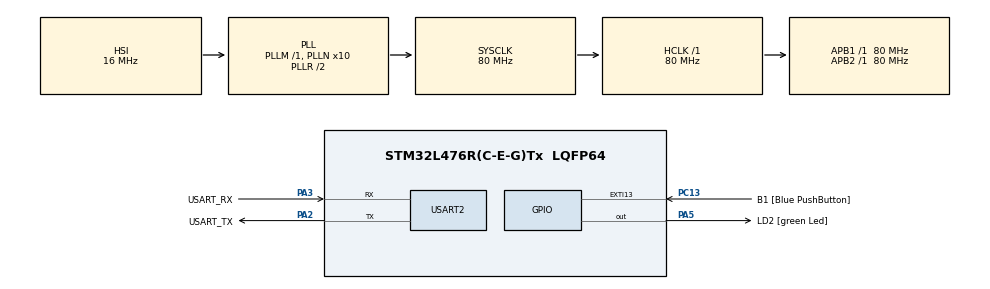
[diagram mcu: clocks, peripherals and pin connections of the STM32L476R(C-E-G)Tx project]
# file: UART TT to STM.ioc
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Dma.Request0=USART2_RX
Dma.USART2_RX.0.Direction=DMA_PERIPH_TO_MEMORY
Dma.USART2_RX.0.Instance=DMA1_Channel6
Dma.USART2_RX.0.MemDataAlignment=DMA_MDATAALIGN_BYTE
Dma.USART2_RX.0.MemInc=DMA_MINC_ENABLE
Dma.USART2_RX.0.Mode=DMA_NORMAL
Dma.USART2_RX.0.PeriphDataAlignment=DMA_PDATAALIGN_BYTE
Dma.USART2_RX.0.PeriphInc=DMA_PINC_DISABLE
Dma.USART2_RX.0.Priority=DMA_PRIORITY_LOW
Mcu.Family=STM32L4
Mcu.Name=STM32L476R(C-E-G)Tx
Mcu.Package=LQFP64
NVIC.DMA1_Channel6_IRQn=true\:0\:0\:false\:false\:true\:false\:true\:true
NVIC.PriorityGroup=NVIC_PRIORITYGROUP_4
NVIC.USART2_IRQn=true\:0\:0\:false\:false\:true\:true\:true\:true
PA13\ (JTMS-SWDIO).GPIO_Label=TMS
PA13\ (JTMS-SWDIO).Mode=Serial_Wire
PA13\ (JTMS-SWDIO).Signal=SYS_JTMS-SWDIO
PA14\ (JTCK-SWCLK).GPIO_Label=TCK
PA14\ (JTCK-SWCLK).Mode=Serial_Wire
PA14\ (JTCK-SWCLK).Signal=SYS_JTCK-SWCLK
PA2.GPIO_Label=USART_TX
PA2.GPIO_Mode=GPIO_MODE_AF_PP
PA2.GPIO_PuPd=GPIO_NOPULL
PA2.GPIO_Speed=GPIO_SPEED_FREQ_VERY_HIGH
PA2.Mode=Asynchronous
PA2.Signal=USART2_TX
PA3.GPIO_Label=USART_RX
PA3.GPIO_Mode=GPIO_MODE_AF_PP
PA3.GPIO_PuPd=GPIO_NOPULL
PA3.GPIO_Speed=GPIO_SPEED_FREQ_VERY_HIGH
PA3.Mode=Asynchronous
PA3.Signal=USART2_RX
PA5.GPIO_Label=LD2 [green Led]
PA5.GPIO_ModeDefaultOutputPP=GPIO_MODE_OUTPUT_PP
PA5.GPIO_PuPd=GPIO_NOPULL
PA5.GPIO_Speed=GPIO_SPEED_FREQ_LOW
PA5.Signal=GPIO_Output
PB3\ (JTDO-TRACESWO).GPIO_Label=SWO
PB3\ (JTDO-TRACESWO).Signal=SYS_JTDO-SWO
PC13.GPIO_Label=B1 [Blue PushButton]
PC13.GPIO_ModeDefaultEXTI=GPIO_MODE_IT_FALLING
PC13.GPIO_PuPd=GPIO_NOPULL
PC13.Signal=GPXTI13
PC14-OSC32_IN\ (PC14).Mode=LSE-External-Oscillator
PC14-OSC32_IN\ (PC14).Signal=RCC_OSC32_IN
PC15-OSC32_OUT\ (PC15).Mode=LSE-External-Oscillator
PC15-OSC32_OUT\ (PC15).Signal=RCC_OSC32_OUT
PH0-OSC_IN\ (PH0).Signal=RCC_OSC_IN
PH1-OSC_OUT\ (PH1).Signal=RCC_OSC_OUT
ProjectManager.HeapSize=0x200
ProjectManager.StackSize=0x400
ProjectManager.TargetToolchain=STM32CubeIDE
RCC.ADCFreq_Value=64000000
RCC.AHBFreq_Value=80000000
RCC.APB1Freq_Value=80000000
RCC.APB1TimFreq_Value=80000000
RCC.APB2Freq_Value=80000000
RCC.APB2TimFreq_Value=80000000
RCC.CortexFreq_Value=80000000
RCC.HCLKFreq_Value=80000000
RCC.HSE_VALUE=8000000
RCC.HSI_VALUE=16000000
RCC.MSI_VALUE=4000000
RCC.PLLN=10
RCC.PLLSourceVirtual=RCC_PLLSOURCE_HSI
RCC.PREFETCH_ENABLE=1
RCC.SYSCLKFreq_VALUE=80000000
RCC.SYSCLKSource=RCC_SYSCLKSOURCE_PLLCLK
RCC.USBFreq_Value=64000000
RCC.VCOOutputFreq_Value=160000000
USART2.VirtualMode-Asynchronous=VM_ASYNC
board=NUCLEO-L476RG

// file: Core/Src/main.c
/* USER CODE BEGIN Header */
/**
  ******************************************************************************
  * @file           : main.c
  * @brief          : Main program body
  ******************************************************************************
  * @attention
  *
  * Copyright (c) 2024 STMicroelectronics.
  * All rights reserved.
  *
  * This software is licensed under terms that can be found in the LICENSE file
  * in the root directory of this software component.
  * If no LICENSE file comes with this software, it is provided AS-IS.
  *
  ******************************************************************************
  */
/* USER CODE END Header */
#include "main.h"

/* USER CODE BEGIN Includes */
#include "string.h"
/* USER CODE END Includes */

/* USER CODE BEGIN PD */
#define RxBuf_SIZE 100 //16 bits geeft waarde van 0 tm 65535, dus maximaal 5 decimalen
#define MainBuf_SIZE 100
/* USER CODE END PD */

UART_HandleTypeDef huart2;
DMA_HandleTypeDef hdma_usart2_rx;

/* USER CODE BEGIN PV */
uint8_t RxBuf[RxBuf_SIZE];
uint8_t MainBuf[MainBuf_SIZE];
char TxBuf[RxBuf_SIZE];
char String[] = "12345";
/* USER CODE END PV */

void SystemClock_Config(void);
static void MX_GPIO_Init(void);
static void MX_DMA_Init(void);
static void MX_USART2_UART_Init(void);

/* USER CODE BEGIN 0 */
void HAL_UARTEx_RxEventCallback(UART_HandleTypeDef *huart, uint16_t Size){

	if(huart->Instance == USART2){
		memcpy(MainBuf, RxBuf, Size);
		HAL_UARTEx_ReceiveToIdle_DMA(&huart2, RxBuf, RxBuf_SIZE);
		__HAL_DMA_DISABLE_IT(&hdma_usart2_rx, DMA_IT_HT);
	}

	HAL_UART_Transmit(&huart2, MainBuf, Size, 1000);
	uint16_t convertedString = (uint16_t)atoi((char* )RxBuf);
	memset(RxBuf,0,strlen(RxBuf));

}
/* USER CODE END 0 */

int main(void)
{

  /* MCU Configuration--------------------------------------------------------*/

  /* Reset of all peripherals, Initializes the Flash interface and the Systick. */
  HAL_Init();

  /* Configure the system clock */
  SystemClock_Config();

  /* Initialize all configured peripherals */
  MX_GPIO_Init();
  MX_DMA_Init();
  MX_USART2_UART_Init();
  /* USER CODE BEGIN 2 */
  HAL_UARTEx_ReceiveToIdle_DMA(&huart2, RxBuf, RxBuf_SIZE);
  __HAL_DMA_DISABLE_IT(&hdma_usart2_rx, DMA_IT_HT);
  HAL_Delay(1000);

  /* USER CODE END 2 */

  /* Infinite loop */
  /* USER CODE BEGIN WHILE */
  while (1)
  {

	  //HAL_UART_Transmit(&huart2, RxBuf, 5, 1000);
	  HAL_Delay(1000);
    /* USER CODE END WHILE */

  }
}

void SystemClock_Config(void)
{
  RCC_OscInitTypeDef RCC_OscInitStruct = {0};
  RCC_ClkInitTypeDef RCC_ClkInitStruct = {0};

  /** Configure the main internal regulator output voltage
  */
  if (HAL_PWREx_ControlVoltageScaling(PWR_REGULATOR_VOLTAGE_SCALE1) != HAL_OK)
  {
    Error_Handler();
  }

  /** Initializes the RCC Oscillators according to the specified parameters
  * in the RCC_OscInitTypeDef structure.
  */
  RCC_OscInitStruct.OscillatorType = RCC_OSCILLATORTYPE_HSI;
  RCC_OscInitStruct.HSIState = RCC_HSI_ON;
  RCC_OscInitStruct.HSICalibrationValue = RCC_HSICALIBRATION_DEFAULT;
  RCC_OscInitStruct.PLL.PLLState = RCC_PLL_ON;
  RCC_OscInitStruct.PLL.PLLSource = RCC_PLLSOURCE_HSI;
  RCC_OscInitStruct.PLL.PLLM = 1;
  RCC_OscInitStruct.PLL.PLLN = 10;
  RCC_OscInitStruct.PLL.PLLP = RCC_PLLP_DIV7;
  RCC_OscInitStruct.PLL.PLLQ = RCC_PLLQ_DIV2;
  RCC_OscInitStruct.PLL.PLLR = RCC_PLLR_DIV2;
  if (HAL_RCC_OscConfig(&RCC_OscInitStruct) != HAL_OK)
  {
    Error_Handler();
  }

  /** Initializes the CPU, AHB and APB buses clocks
  */
  RCC_ClkInitStruct.ClockType = RCC_CLOCKTYPE_HCLK|RCC_CLOCKTYPE_SYSCLK
                              |RCC_CLOCKTYPE_PCLK1|RCC_CLOCKTYPE_PCLK2;
  RCC_ClkInitStruct.SYSCLKSource = RCC_SYSCLKSOURCE_PLLCLK;
  RCC_ClkInitStruct.AHBCLKDivider = RCC_SYSCLK_DIV1;
  RCC_ClkInitStruct.APB1CLKDivider = RCC_HCLK_DIV1;
  RCC_ClkInitStruct.APB2CLKDivider = RCC_HCLK_DIV1;

  if (HAL_RCC_ClockConfig(&RCC_ClkInitStruct, FLASH_LATENCY_4) != HAL_OK)
  {
    Error_Handler();
  }
}

static void MX_USART2_UART_Init(void)
{

  huart2.Instance = USART2;
  huart2.Init.BaudRate = 115200;
  huart2.Init.WordLength = UART_WORDLENGTH_8B;
  huart2.Init.StopBits = UART_STOPBITS_1;
  huart2.Init.Parity = UART_PARITY_NONE;
  huart2.Init.Mode = UART_MODE_TX_RX;
  huart2.Init.HwFlowCtl = UART_HWCONTROL_NONE;
  huart2.Init.OverSampling = UART_OVERSAMPLING_16;
  huart2.Init.OneBitSampling = UART_ONE_BIT_SAMPLE_DISABLE;
  huart2.AdvancedInit.AdvFeatureInit = UART_ADVFEATURE_NO_INIT;
  if (HAL_UART_Init(&huart2) != HAL_OK)
  {
    Error_Handler();
  }

}

static void MX_DMA_Init(void)
{

  /* DMA controller clock enable */
  __HAL_RCC_DMA1_CLK_ENABLE();

  /* DMA interrupt init */
  /* DMA1_Channel6_IRQn interrupt configuration */
  HAL_NVIC_SetPriority(DMA1_Channel6_IRQn, 0, 0);
  HAL_NVIC_EnableIRQ(DMA1_Channel6_IRQn);

}

static void MX_GPIO_Init(void)
{
  GPIO_InitTypeDef GPIO_InitStruct = {0};

  /* GPIO Ports Clock Enable */
  __HAL_RCC_GPIOC_CLK_ENABLE();
  __HAL_RCC_GPIOH_CLK_ENABLE();
  __HAL_RCC_GPIOA_CLK_ENABLE();
  __HAL_RCC_GPIOB_CLK_ENABLE();

  /*Configure GPIO pin Output Level */
  HAL_GPIO_WritePin(LD2_GPIO_Port, LD2_Pin, GPIO_PIN_RESET);

  /*Configure GPIO pin : B1_Pin */
  GPIO_InitStruct.Pin = B1_Pin;
  GPIO_InitStruct.Mode = GPIO_MODE_IT_FALLING;
  GPIO_InitStruct.Pull = GPIO_NOPULL;
  HAL_GPIO_Init(B1_GPIO_Port, &GPIO_InitStruct);

  /*Configure GPIO pin : LD2_Pin */
  GPIO_InitStruct.Pin = LD2_Pin;
  GPIO_InitStruct.Mode = GPIO_MODE_OUTPUT_PP;
  GPIO_InitStruct.Pull = GPIO_NOPULL;
  GPIO_InitStruct.Speed = GPIO_SPEED_FREQ_LOW;
  HAL_GPIO_Init(LD2_GPIO_Port, &GPIO_InitStruct);

}

void Error_Handler(void)
{
  __disable_irq();
  while (1)
  {
  }
}
